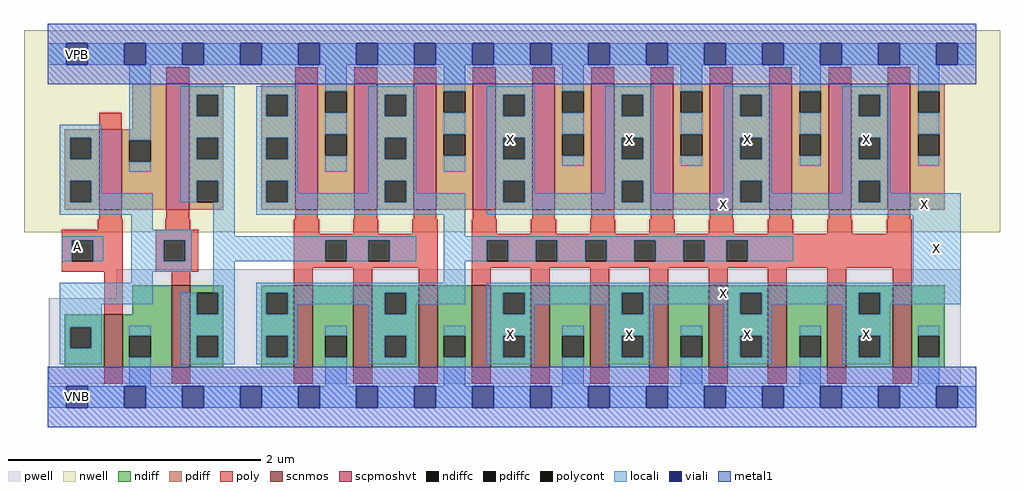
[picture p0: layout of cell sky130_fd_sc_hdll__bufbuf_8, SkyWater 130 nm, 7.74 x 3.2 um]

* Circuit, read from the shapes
.subckt sky130_fd_sc_hdll__bufbuf_8 A VGND VNB VPB VPWR X
XM1 VGND A n1 VNB sky130_fd_pr__nfet_01v8 w=0.42 l=0.15
XM2 n2 n1 VGND VNB sky130_fd_pr__nfet_01v8 w=0.65 l=0.15
XM3 VGND n2 n3 VNB sky130_fd_pr__nfet_01v8 w=0.65 l=0.15 m=3
XM4 X n3 VGND VNB sky130_fd_pr__nfet_01v8 w=0.65 l=0.15 m=8
XM5 VPWR A n1 VPB sky130_fd_pr__pfet_01v8_hvt w=0.64 l=0.18
XM6 n2 n1 VPWR VPB sky130_fd_pr__pfet_01v8_hvt w=1 l=0.18
XM7 VPWR n2 n3 VPB sky130_fd_pr__pfet_01v8_hvt w=1 l=0.18 m=3
XM8 X n3 VPWR VPB sky130_fd_pr__pfet_01v8_hvt w=1 l=0.18 m=8
.ends

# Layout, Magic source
magic
tech sky130A
magscale 1 2
<< nwell >>
rect -38 261 1510 582
<< pwell >>
rect 108 157 1448 203
rect 1 21 1448 157
rect 30 -17 64 21
<< scnmos >>
rect 89 47 119 131
rect 196 47 226 177
rect 390 47 420 177
rect 484 47 514 177
rect 588 47 618 177
rect 672 47 702 177
rect 766 47 796 177
rect 860 47 890 177
rect 954 47 984 177
rect 1048 47 1078 177
rect 1142 47 1172 177
rect 1236 47 1266 177
rect 1340 47 1370 177
<< scpmoshvt >>
rect 81 297 117 425
rect 188 297 224 497
rect 392 297 428 497
rect 486 297 522 497
rect 580 297 616 497
rect 674 297 710 497
rect 768 297 804 497
rect 862 297 898 497
rect 956 297 992 497
rect 1050 297 1086 497
rect 1144 297 1180 497
rect 1238 297 1274 497
rect 1332 297 1368 497
<< ndiff >>
rect 134 131 196 177
rect 27 111 89 131
rect 27 77 35 111
rect 69 77 89 111
rect 27 47 89 77
rect 119 97 196 131
rect 119 63 129 97
rect 163 63 196 97
rect 119 47 196 63
rect 226 165 278 177
rect 226 131 236 165
rect 270 131 278 165
rect 226 97 278 131
rect 226 63 236 97
rect 270 63 278 97
rect 226 47 278 63
rect 338 165 390 177
rect 338 131 346 165
rect 380 131 390 165
rect 338 97 390 131
rect 338 63 346 97
rect 380 63 390 97
rect 338 47 390 63
rect 420 97 484 177
rect 420 63 440 97
rect 474 63 484 97
rect 420 47 484 63
rect 514 165 588 177
rect 514 131 534 165
rect 568 131 588 165
rect 514 97 588 131
rect 514 63 534 97
rect 568 63 588 97
rect 514 47 588 63
rect 618 97 672 177
rect 618 63 628 97
rect 662 63 672 97
rect 618 47 672 63
rect 702 165 766 177
rect 702 131 722 165
rect 756 131 766 165
rect 702 97 766 131
rect 702 63 722 97
rect 756 63 766 97
rect 702 47 766 63
rect 796 97 860 177
rect 796 63 816 97
rect 850 63 860 97
rect 796 47 860 63
rect 890 165 954 177
rect 890 131 910 165
rect 944 131 954 165
rect 890 97 954 131
rect 890 63 910 97
rect 944 63 954 97
rect 890 47 954 63
rect 984 97 1048 177
rect 984 63 1004 97
rect 1038 63 1048 97
rect 984 47 1048 63
rect 1078 165 1142 177
rect 1078 131 1098 165
rect 1132 131 1142 165
rect 1078 97 1142 131
rect 1078 63 1098 97
rect 1132 63 1142 97
rect 1078 47 1142 63
rect 1172 97 1236 177
rect 1172 63 1192 97
rect 1226 63 1236 97
rect 1172 47 1236 63
rect 1266 165 1340 177
rect 1266 131 1286 165
rect 1320 131 1340 165
rect 1266 97 1340 131
rect 1266 63 1286 97
rect 1320 63 1340 97
rect 1266 47 1340 63
rect 1370 97 1422 177
rect 1370 63 1380 97
rect 1414 63 1422 97
rect 1370 47 1422 63
<< pdiff >>
rect 134 425 188 497
rect 27 411 81 425
rect 27 377 35 411
rect 69 377 81 411
rect 27 343 81 377
rect 27 309 35 343
rect 69 309 81 343
rect 27 297 81 309
rect 117 407 188 425
rect 117 373 129 407
rect 163 373 188 407
rect 117 297 188 373
rect 224 479 278 497
rect 224 445 236 479
rect 270 445 278 479
rect 224 411 278 445
rect 224 377 236 411
rect 270 377 278 411
rect 224 343 278 377
rect 224 309 236 343
rect 270 309 278 343
rect 224 297 278 309
rect 338 479 392 497
rect 338 445 346 479
rect 380 445 392 479
rect 338 411 392 445
rect 338 377 346 411
rect 380 377 392 411
rect 338 343 392 377
rect 338 309 346 343
rect 380 309 392 343
rect 338 297 392 309
rect 428 485 486 497
rect 428 451 440 485
rect 474 451 486 485
rect 428 417 486 451
rect 428 383 440 417
rect 474 383 486 417
rect 428 297 486 383
rect 522 479 580 497
rect 522 445 534 479
rect 568 445 580 479
rect 522 411 580 445
rect 522 377 534 411
rect 568 377 580 411
rect 522 343 580 377
rect 522 309 534 343
rect 568 309 580 343
rect 522 297 580 309
rect 616 485 674 497
rect 616 451 628 485
rect 662 451 674 485
rect 616 417 674 451
rect 616 383 628 417
rect 662 383 674 417
rect 616 297 674 383
rect 710 479 768 497
rect 710 445 722 479
rect 756 445 768 479
rect 710 411 768 445
rect 710 377 722 411
rect 756 377 768 411
rect 710 343 768 377
rect 710 309 722 343
rect 756 309 768 343
rect 710 297 768 309
rect 804 485 862 497
rect 804 451 816 485
rect 850 451 862 485
rect 804 417 862 451
rect 804 383 816 417
rect 850 383 862 417
rect 804 297 862 383
rect 898 479 956 497
rect 898 445 910 479
rect 944 445 956 479
rect 898 411 956 445
rect 898 377 910 411
rect 944 377 956 411
rect 898 343 956 377
rect 898 309 910 343
rect 944 309 956 343
rect 898 297 956 309
rect 992 485 1050 497
rect 992 451 1004 485
rect 1038 451 1050 485
rect 992 417 1050 451
rect 992 383 1004 417
rect 1038 383 1050 417
rect 992 297 1050 383
rect 1086 479 1144 497
rect 1086 445 1098 479
rect 1132 445 1144 479
rect 1086 411 1144 445
rect 1086 377 1098 411
rect 1132 377 1144 411
rect 1086 343 1144 377
rect 1086 309 1098 343
rect 1132 309 1144 343
rect 1086 297 1144 309
rect 1180 485 1238 497
rect 1180 451 1192 485
rect 1226 451 1238 485
rect 1180 417 1238 451
rect 1180 383 1192 417
rect 1226 383 1238 417
rect 1180 297 1238 383
rect 1274 479 1332 497
rect 1274 445 1286 479
rect 1320 445 1332 479
rect 1274 411 1332 445
rect 1274 377 1286 411
rect 1320 377 1332 411
rect 1274 343 1332 377
rect 1274 309 1286 343
rect 1320 309 1332 343
rect 1274 297 1332 309
rect 1368 485 1422 497
rect 1368 451 1380 485
rect 1414 451 1422 485
rect 1368 417 1422 451
rect 1368 383 1380 417
rect 1414 383 1422 417
rect 1368 297 1422 383
<< ndiffc >>
rect 35 77 69 111
rect 129 63 163 97
rect 236 131 270 165
rect 236 63 270 97
rect 346 131 380 165
rect 346 63 380 97
rect 440 63 474 97
rect 534 131 568 165
rect 534 63 568 97
rect 628 63 662 97
rect 722 131 756 165
rect 722 63 756 97
rect 816 63 850 97
rect 910 131 944 165
rect 910 63 944 97
rect 1004 63 1038 97
rect 1098 131 1132 165
rect 1098 63 1132 97
rect 1192 63 1226 97
rect 1286 131 1320 165
rect 1286 63 1320 97
rect 1380 63 1414 97
<< pdiffc >>
rect 35 377 69 411
rect 35 309 69 343
rect 129 373 163 407
rect 236 445 270 479
rect 236 377 270 411
rect 236 309 270 343
rect 346 445 380 479
rect 346 377 380 411
rect 346 309 380 343
rect 440 451 474 485
rect 440 383 474 417
rect 534 445 568 479
rect 534 377 568 411
rect 534 309 568 343
rect 628 451 662 485
rect 628 383 662 417
rect 722 445 756 479
rect 722 377 756 411
rect 722 309 756 343
rect 816 451 850 485
rect 816 383 850 417
rect 910 445 944 479
rect 910 377 944 411
rect 910 309 944 343
rect 1004 451 1038 485
rect 1004 383 1038 417
rect 1098 445 1132 479
rect 1098 377 1132 411
rect 1098 309 1132 343
rect 1192 451 1226 485
rect 1192 383 1226 417
rect 1286 445 1320 479
rect 1286 377 1320 411
rect 1286 309 1320 343
rect 1380 451 1414 485
rect 1380 383 1414 417
<< poly >>
rect 188 497 224 523
rect 392 497 428 523
rect 486 497 522 523
rect 580 497 616 523
rect 674 497 710 523
rect 768 497 804 523
rect 862 497 898 523
rect 956 497 992 523
rect 1050 497 1086 523
rect 1144 497 1180 523
rect 1238 497 1274 523
rect 1332 497 1368 523
rect 81 425 117 451
rect 81 282 117 297
rect 188 282 224 297
rect 392 282 428 297
rect 486 282 522 297
rect 580 282 616 297
rect 674 282 710 297
rect 768 282 804 297
rect 862 282 898 297
rect 956 282 992 297
rect 1050 282 1086 297
rect 1144 282 1180 297
rect 1238 282 1274 297
rect 1332 282 1368 297
rect 79 265 119 282
rect 186 265 226 282
rect 22 249 119 265
rect 22 215 38 249
rect 72 215 119 249
rect 22 199 119 215
rect 171 249 238 265
rect 171 215 184 249
rect 218 215 238 249
rect 171 199 238 215
rect 390 259 430 282
rect 484 259 524 282
rect 578 259 618 282
rect 390 249 618 259
rect 390 215 440 249
rect 474 215 508 249
rect 542 215 618 249
rect 390 205 618 215
rect 89 131 119 199
rect 196 177 226 199
rect 390 177 420 205
rect 484 177 514 205
rect 588 177 618 205
rect 672 259 712 282
rect 766 259 806 282
rect 860 259 900 282
rect 954 259 994 282
rect 1048 259 1088 282
rect 1142 259 1182 282
rect 1236 259 1276 282
rect 1330 259 1370 282
rect 672 249 1370 259
rect 672 215 696 249
rect 730 215 774 249
rect 808 215 852 249
rect 886 215 930 249
rect 964 215 1008 249
rect 1042 215 1076 249
rect 1110 215 1370 249
rect 672 205 1370 215
rect 672 177 702 205
rect 766 177 796 205
rect 860 177 890 205
rect 954 177 984 205
rect 1048 177 1078 205
rect 1142 177 1172 205
rect 1236 177 1266 205
rect 1340 177 1370 205
rect 89 21 119 47
rect 196 21 226 47
rect 390 21 420 47
rect 484 21 514 47
rect 588 21 618 47
rect 672 21 702 47
rect 766 21 796 47
rect 860 21 890 47
rect 954 21 984 47
rect 1048 21 1078 47
rect 1142 21 1172 47
rect 1236 21 1266 47
rect 1340 21 1370 47
<< polycont >>
rect 38 215 72 249
rect 184 215 218 249
rect 440 215 474 249
rect 508 215 542 249
rect 696 215 730 249
rect 774 215 808 249
rect 852 215 886 249
rect 930 215 964 249
rect 1008 215 1042 249
rect 1076 215 1110 249
<< locali >>
rect 0 527 29 561
rect 63 527 121 561
rect 155 527 213 561
rect 247 527 305 561
rect 339 527 397 561
rect 431 527 489 561
rect 523 527 581 561
rect 615 527 673 561
rect 707 527 765 561
rect 799 527 857 561
rect 891 527 949 561
rect 983 527 1041 561
rect 1075 527 1133 561
rect 1167 527 1225 561
rect 1259 527 1317 561
rect 1351 527 1409 561
rect 1443 527 1472 561
rect 19 411 85 432
rect 19 377 35 411
rect 69 377 85 411
rect 19 343 85 377
rect 129 407 163 527
rect 129 357 163 373
rect 210 479 296 493
rect 210 445 236 479
rect 270 445 296 479
rect 210 411 296 445
rect 210 377 236 411
rect 270 377 296 411
rect 19 309 35 343
rect 69 323 85 343
rect 210 343 296 377
rect 69 309 166 323
rect 210 309 236 343
rect 270 309 296 343
rect 19 289 166 309
rect 132 265 166 289
rect 22 249 88 255
rect 22 215 38 249
rect 72 215 88 249
rect 132 249 228 265
rect 132 215 184 249
rect 218 215 228 249
rect 132 199 228 215
rect 262 255 296 309
rect 330 479 396 493
rect 330 445 346 479
rect 380 445 396 479
rect 330 411 396 445
rect 330 377 346 411
rect 380 377 396 411
rect 330 343 396 377
rect 440 485 474 527
rect 440 417 474 451
rect 440 357 474 383
rect 508 479 584 493
rect 508 445 534 479
rect 568 445 584 479
rect 508 411 584 445
rect 508 377 534 411
rect 568 377 584 411
rect 330 309 346 343
rect 380 323 396 343
rect 508 343 584 377
rect 628 485 662 527
rect 628 417 662 451
rect 628 357 662 383
rect 696 479 772 493
rect 696 445 722 479
rect 756 445 772 479
rect 696 411 772 445
rect 696 377 722 411
rect 756 377 772 411
rect 508 323 534 343
rect 380 309 534 323
rect 568 323 584 343
rect 696 343 772 377
rect 816 485 850 527
rect 816 417 850 451
rect 816 367 850 383
rect 884 479 960 493
rect 884 445 910 479
rect 944 445 960 479
rect 884 411 960 445
rect 884 377 910 411
rect 944 377 960 411
rect 568 309 662 323
rect 330 289 662 309
rect 696 309 722 343
rect 756 323 772 343
rect 884 343 960 377
rect 1004 485 1038 527
rect 1004 417 1038 451
rect 1004 367 1038 383
rect 1072 479 1148 493
rect 1072 445 1098 479
rect 1132 445 1148 479
rect 1072 411 1148 445
rect 1072 377 1098 411
rect 1132 377 1148 411
rect 884 323 910 343
rect 756 309 910 323
rect 944 323 960 343
rect 1072 343 1148 377
rect 1192 485 1226 527
rect 1192 417 1226 451
rect 1192 367 1226 383
rect 1260 479 1336 493
rect 1260 445 1286 479
rect 1320 445 1336 479
rect 1260 411 1336 445
rect 1260 377 1286 411
rect 1320 377 1336 411
rect 1072 323 1098 343
rect 944 309 1098 323
rect 1132 323 1148 343
rect 1260 343 1336 377
rect 1380 485 1414 527
rect 1380 417 1414 451
rect 1380 367 1414 383
rect 1260 323 1286 343
rect 1132 309 1286 323
rect 1320 323 1336 343
rect 1320 309 1448 323
rect 696 289 1448 309
rect 628 255 662 289
rect 262 249 584 255
rect 262 215 440 249
rect 474 215 508 249
rect 542 215 584 249
rect 628 249 1182 255
rect 628 215 696 249
rect 730 215 774 249
rect 808 215 852 249
rect 886 215 930 249
rect 964 215 1008 249
rect 1042 215 1076 249
rect 1110 215 1182 249
rect 132 181 166 199
rect 19 147 166 181
rect 262 165 296 215
rect 628 181 662 215
rect 1372 181 1448 289
rect 19 111 85 147
rect 210 131 236 165
rect 270 131 296 165
rect 19 77 35 111
rect 69 77 85 111
rect 19 52 85 77
rect 129 97 163 113
rect 129 17 163 63
rect 210 97 296 131
rect 210 63 236 97
rect 270 63 296 97
rect 210 52 296 63
rect 330 165 662 181
rect 330 131 346 165
rect 380 147 534 165
rect 380 131 396 147
rect 330 97 396 131
rect 508 131 534 147
rect 568 147 662 165
rect 696 165 1448 181
rect 568 131 584 147
rect 330 63 346 97
rect 380 63 396 97
rect 330 52 396 63
rect 440 97 474 113
rect 440 17 474 63
rect 508 97 584 131
rect 696 131 722 165
rect 756 147 910 165
rect 756 131 772 147
rect 508 63 534 97
rect 568 63 584 97
rect 508 52 584 63
rect 628 97 662 113
rect 628 17 662 63
rect 696 97 772 131
rect 884 131 910 147
rect 944 147 1098 165
rect 944 131 960 147
rect 696 63 722 97
rect 756 63 772 97
rect 696 52 772 63
rect 816 97 850 113
rect 816 17 850 63
rect 884 97 960 131
rect 1072 131 1098 147
rect 1132 147 1286 165
rect 1132 131 1148 147
rect 884 63 910 97
rect 944 63 960 97
rect 884 52 960 63
rect 1004 97 1038 113
rect 1004 17 1038 63
rect 1072 97 1148 131
rect 1260 131 1286 147
rect 1320 147 1448 165
rect 1320 131 1336 147
rect 1072 63 1098 97
rect 1132 63 1148 97
rect 1072 52 1148 63
rect 1192 97 1226 113
rect 1192 17 1226 63
rect 1260 97 1336 131
rect 1260 63 1286 97
rect 1320 63 1336 97
rect 1260 52 1336 63
rect 1380 97 1414 113
rect 1380 17 1414 63
rect 0 -17 29 17
rect 63 -17 121 17
rect 155 -17 213 17
rect 247 -17 305 17
rect 339 -17 397 17
rect 431 -17 489 17
rect 523 -17 581 17
rect 615 -17 673 17
rect 707 -17 765 17
rect 799 -17 857 17
rect 891 -17 949 17
rect 983 -17 1041 17
rect 1075 -17 1133 17
rect 1167 -17 1225 17
rect 1259 -17 1317 17
rect 1351 -17 1409 17
rect 1443 -17 1472 17
<< viali >>
rect 29 527 63 561
rect 121 527 155 561
rect 213 527 247 561
rect 305 527 339 561
rect 397 527 431 561
rect 489 527 523 561
rect 581 527 615 561
rect 673 527 707 561
rect 765 527 799 561
rect 857 527 891 561
rect 949 527 983 561
rect 1041 527 1075 561
rect 1133 527 1167 561
rect 1225 527 1259 561
rect 1317 527 1351 561
rect 1409 527 1443 561
rect 29 -17 63 17
rect 121 -17 155 17
rect 213 -17 247 17
rect 305 -17 339 17
rect 397 -17 431 17
rect 489 -17 523 17
rect 581 -17 615 17
rect 673 -17 707 17
rect 765 -17 799 17
rect 857 -17 891 17
rect 949 -17 983 17
rect 1041 -17 1075 17
rect 1133 -17 1167 17
rect 1225 -17 1259 17
rect 1317 -17 1351 17
rect 1409 -17 1443 17
<< metal1 >>
rect 0 561 1472 592
rect 0 527 29 561
rect 63 527 121 561
rect 155 527 213 561
rect 247 527 305 561
rect 339 527 397 561
rect 431 527 489 561
rect 523 527 581 561
rect 615 527 673 561
rect 707 527 765 561
rect 799 527 857 561
rect 891 527 949 561
rect 983 527 1041 561
rect 1075 527 1133 561
rect 1167 527 1225 561
rect 1259 527 1317 561
rect 1351 527 1409 561
rect 1443 527 1472 561
rect 0 496 1472 527
rect 0 17 1472 48
rect 0 -17 29 17
rect 63 -17 121 17
rect 155 -17 213 17
rect 247 -17 305 17
rect 339 -17 397 17
rect 431 -17 489 17
rect 523 -17 581 17
rect 615 -17 673 17
rect 707 -17 765 17
rect 799 -17 857 17
rect 891 -17 949 17
rect 983 -17 1041 17
rect 1075 -17 1133 17
rect 1167 -17 1225 17
rect 1259 -17 1317 17
rect 1351 -17 1409 17
rect 1443 -17 1472 17
rect 0 -48 1472 -17
<< labels >>
flabel locali s 30 221 64 255 0 FreeSans 200 0 0 0 A
port 1 nsew signal input
flabel locali s 1372 181 1448 289 0 FreeSans 200 0 0 0 X
port 6 nsew signal output
flabel locali s 1390 306 1390 306 0 FreeSans 200 0 0 0 X
port 6 nsew
flabel pwell s 30 -17 64 17 0 FreeSans 200 0 0 0 VNB
port 3 nsew ground bidirectional
flabel nwell s 30 527 64 561 0 FreeSans 200 0 0 0 VPB
port 4 nsew power bidirectional
flabel metal1 s 30 -17 64 17 0 FreeSans 200 0 0 0 VGND
port 2 nsew ground bidirectional
flabel metal1 s 30 527 64 561 0 FreeSans 200 0 0 0 VPWR
port 5 nsew power bidirectional
rlabel locali s 1260 323 1336 493 1 X
port 6 nsew signal output
rlabel locali s 1260 52 1336 147 1 X
port 6 nsew signal output
rlabel locali s 1072 323 1148 493 1 X
port 6 nsew signal output
rlabel locali s 1072 52 1148 147 1 X
port 6 nsew signal output
rlabel locali s 884 323 960 493 1 X
port 6 nsew signal output
rlabel locali s 884 52 960 147 1 X
port 6 nsew signal output
rlabel locali s 696 323 772 493 1 X
port 6 nsew signal output
rlabel locali s 696 289 1448 323 1 X
port 6 nsew signal output
rlabel locali s 696 147 1448 181 1 X
port 6 nsew signal output
rlabel locali s 696 52 772 147 1 X
port 6 nsew signal output
<< properties >>
string LEFsite unithd
string LEFclass CORE
string FIXED_BBOX 0 0 1472 544
string GDS_FILE $PDKPATH/libs.ref/sky130_fd_sc_hdll/gds/sky130_fd_sc_hdll.gds
string LEFsymmetry X Y R90
string GDS_END 1988444
string GDS_START 1977470
string LEFproperties maskLayoutSubType "abstract" prCellType "standard" originalViewName "layout"
<< end >>
